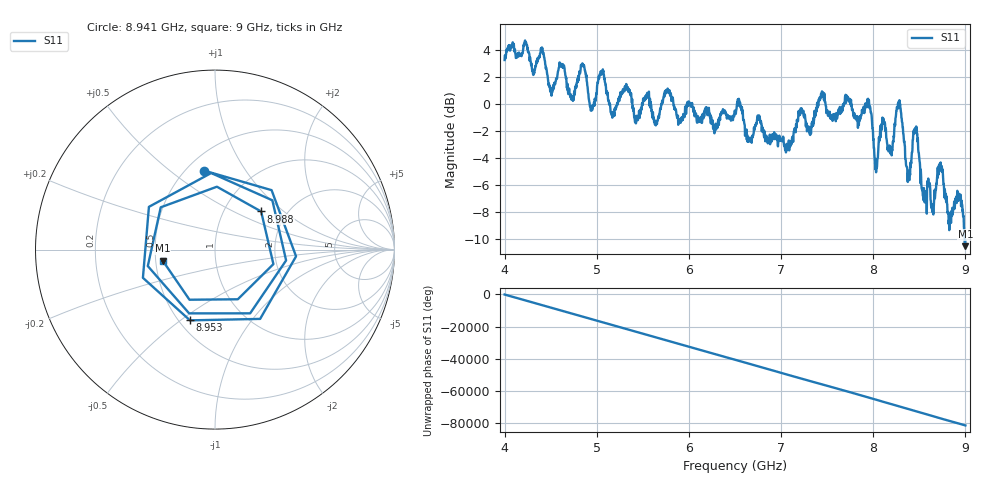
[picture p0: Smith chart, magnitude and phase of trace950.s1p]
! Created with skrf 1.8.0 (http://scikit-rf.org).
# Hz S RI R 50.0
!freq ReS11 ImS11
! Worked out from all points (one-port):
!   1601 points, 4 GHz to 9 GHz, reference 50 ohm
!   lowest |S11| = -10.5 dB at 9 GHz (marker M1), VSWR 1.85, Z = 27.3 - j3.75 ohm
!   |S11| at or under -10 dB: 8.992828 GHz to end of sweep
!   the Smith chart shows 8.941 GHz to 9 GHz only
!   S11 on the Smith chart (normalised r, x): 8.941 GHz: 0.61, +0.67; 8.953 GHz: 0.57, -0.54; 8.988 GHz: 1.49, +0.71; 9 GHz: 0.55, -0.07
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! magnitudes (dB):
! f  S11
! 4 GHz  3.3
! 4.409 GHz  4.2
! 4.509 GHz  0.6
! 4.625 GHz  2.7
! 4.731 GHz  0.4
! 4.85 GHz  3.0
! 4.941 GHz  -0.4
! 5.053 GHz  2.4
! 5.166 GHz  -0.8
! 5.25 GHz  0.5
! 5.875 GHz  -1.0
! 6.5 GHz  -0.5
! 7.125 GHz  -2.5
! 7.434 GHz  0.8
! 7.75 GHz  0.3
! 7.959 GHz  -0.3
! 8.031 GHz  -5.1
! 8.194 GHz  -3.5
! 8.278 GHz  0.2
! 8.375 GHz  -5.8
! 8.459 GHz  -1.9
! 8.556 GHz  -6.4
! 8.731 GHz  -4.3
! 8.831 GHz  -8.5
! 8.941 GHz  -7.0
! 8.953 GHz  -7.6
! 8.988 GHz  -9.5
! 9 GHz  -10.5
